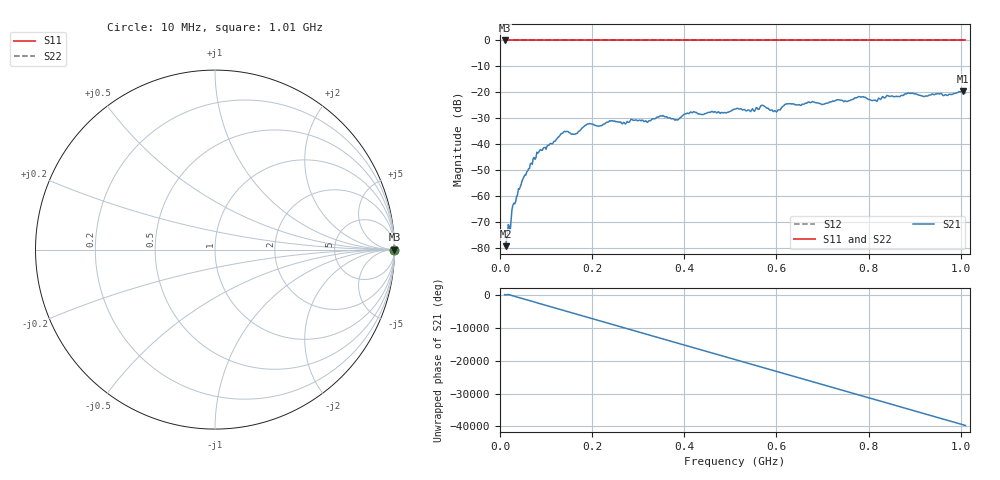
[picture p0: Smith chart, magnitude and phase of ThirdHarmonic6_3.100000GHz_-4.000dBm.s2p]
! 8/17/2025 9:08:29 AM
! C:\ANRITSUVNA\TEMP\TEMP.S2P
! CHANNEL.1
! TR.MEASUREMENT
! RAW.DATA
! RF.CORRECTION.OFF
! AVERAGING.OFF
! IF.BANDWIDTH: 5KHZ
! SWEEPTYPE:  FREQ.SWEEP(Linear)
! Reference Plane Port Info
! PORT:  PORT1  PORT2
! DISTANCE:  0  m  0  m
! TIME:  0  s  0  s
! PHASE.OFFSET:  0  deg.  0  deg.
! LOSS:  0  dB  0  dB
! REF.LOSS:  0  dB  0  dB
! REF.FREQ:  0  Hz  0  Hz
! Power Info
! POWER:  -20  dBm  -20  dBm
! EFF.POWER:  -20  dBm  -20  dBm
! SOURCE.ATTEN:  0  dB  0  dB
! TEST.ATTEN:  0  dB  0  dB
# GHZ S RI R 50.0
! FREQ.GHZ  S11RE  S11IM  S21RE  S21IM  S12RE  S12IM  S22RE  S22IM
!; PortSelection: Port_12
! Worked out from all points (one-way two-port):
!   501 points, 10 MHz to 1.01 GHz, reference 50 ohm
!   highest |S21| = -19.56 dB at 1.004 GHz (marker M1); lowest = -79.3 dB at 12 MHz (marker M2)
!   lowest |S11| = 0.0 dB at 10 MHz (marker M3)
!   |S11| at or under -10 dB: nowhere
!   |S22| runs from 0.0 to 0.0 dB; largest |S21 - S12| = 1.1
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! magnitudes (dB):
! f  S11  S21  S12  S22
! 10 MHz  0.0  -79.1  0.0  0.0
! 12 MHz  0.0  -79.3  0.0  0.0
! 30 MHz  0.0  -62.8  0.0  0.0
! 50 MHz  0.0  -53.3  0.0  0.0
! 76 MHz  0.0  -45.8  0.0  0.0
! 136 MHz  0.0  -35.7  0.0  0.0
! 164 MHz  0.0  -36.0  0.0  0.0
! 178 MHz  0.0  -33.8  0.0  0.0
! 344 MHz  0.0  -29.5  0.0  0.0
! 384 MHz  0.0  -30.6  0.0  0.0
! 416 MHz  0.0  -27.8  0.0  0.0
! 510 MHz  0.0  -26.4  0.0  0.0
! 548 MHz  0.0  -26.3  0.0  0.0
! 570 MHz  0.0  -25.0  0.0  0.0
! 598 MHz  0.0  -27.2  0.0  0.0
! 622 MHz  0.0  -24.4  0.0  0.0
! 678 MHz  0.0  -23.6  0.0  0.0
! 782 MHz  0.0  -21.8  0.0  0.0
! 814 MHz  0.0  -23.0  0.0  0.0
! 844 MHz  0.0  -21.5  0.0  0.0
! 1.004 GHz  0.0  -19.6  0.0  0.0
! 1.01 GHz  0.0  -20.2  0.0  0.0
